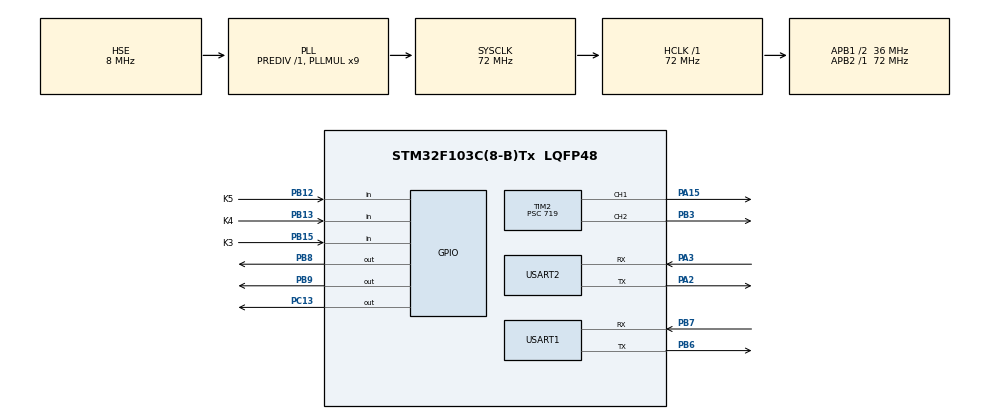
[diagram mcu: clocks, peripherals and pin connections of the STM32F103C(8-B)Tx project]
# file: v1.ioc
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Dma.Request0=USART2_RX
Dma.Request1=USART2_TX
Dma.USART2_RX.0.Direction=DMA_PERIPH_TO_MEMORY
Dma.USART2_RX.0.Instance=DMA1_Channel6
Dma.USART2_RX.0.MemDataAlignment=DMA_MDATAALIGN_BYTE
Dma.USART2_RX.0.MemInc=DMA_MINC_ENABLE
Dma.USART2_RX.0.Mode=DMA_NORMAL
Dma.USART2_RX.0.PeriphDataAlignment=DMA_PDATAALIGN_BYTE
Dma.USART2_RX.0.PeriphInc=DMA_PINC_DISABLE
Dma.USART2_RX.0.Priority=DMA_PRIORITY_LOW
Dma.USART2_TX.1.Direction=DMA_MEMORY_TO_PERIPH
Dma.USART2_TX.1.Instance=DMA1_Channel7
Dma.USART2_TX.1.MemDataAlignment=DMA_MDATAALIGN_BYTE
Dma.USART2_TX.1.MemInc=DMA_MINC_ENABLE
Dma.USART2_TX.1.Mode=DMA_NORMAL
Dma.USART2_TX.1.PeriphDataAlignment=DMA_PDATAALIGN_BYTE
Dma.USART2_TX.1.PeriphInc=DMA_PINC_DISABLE
Dma.USART2_TX.1.Priority=DMA_PRIORITY_LOW
Mcu.Family=STM32F1
Mcu.Name=STM32F103C(8-B)Tx
Mcu.Package=LQFP48
NVIC.DMA1_Channel6_IRQn=true\:0\:0\:false\:false\:true\:false\:true\:true
NVIC.DMA1_Channel7_IRQn=true\:0\:0\:false\:false\:true\:false\:true\:true
NVIC.PriorityGroup=NVIC_PRIORITYGROUP_4
NVIC.TIM4_IRQn=true\:1\:0\:true\:false\:true\:true\:true\:true
NVIC.USART1_IRQn=true\:0\:0\:false\:false\:true\:true\:true\:true
NVIC.USART2_IRQn=true\:0\:0\:false\:false\:true\:true\:true\:true
PA13.Mode=Serial_Wire
PA13.Signal=SYS_JTMS-SWDIO
PA14.Mode=Serial_Wire
PA14.Signal=SYS_JTCK-SWCLK
PA15.Signal=S_TIM2_CH1_ETR
PA2.Mode=Asynchronous
PA2.Signal=USART2_TX
PA3.Mode=Asynchronous
PA3.Signal=USART2_RX
PB12.GPIO_Label=K5
PB12.GPIO_PuPd=GPIO_PULLUP
PB12.Signal=GPIO_Input
PB13.GPIO_Label=K4
PB13.GPIO_PuPd=GPIO_PULLUP
PB13.Signal=GPIO_Input
PB15.GPIO_Label=K3
PB15.GPIO_PuPd=GPIO_PULLUP
PB15.Signal=GPIO_Input
PB3.Signal=S_TIM2_CH2
PB6.Mode=Asynchronous
PB6.Signal=USART1_TX
PB7.Mode=Asynchronous
PB7.Signal=USART1_RX
PB8.GPIO_ModeDefaultOutputPP=GPIO_MODE_OUTPUT_OD
PB8.GPIO_PuPd=GPIO_PULLUP
PB8.GPIO_Speed=GPIO_SPEED_FREQ_HIGH
PB8.PinState=GPIO_PIN_SET
PB8.Signal=GPIO_Output
PB9.GPIO_ModeDefaultOutputPP=GPIO_MODE_OUTPUT_OD
PB9.GPIO_PuPd=GPIO_PULLUP
PB9.GPIO_Speed=GPIO_SPEED_FREQ_HIGH
PB9.PinState=GPIO_PIN_SET
PB9.Signal=GPIO_Output
PC13-TAMPER-RTC.Signal=GPIO_Output
PD0-OSC_IN.Mode=HSE-External-Oscillator
PD0-OSC_IN.Signal=RCC_OSC_IN
PD1-OSC_OUT.Mode=HSE-External-Oscillator
PD1-OSC_OUT.Signal=RCC_OSC_OUT
ProjectManager.HeapSize=0x200
ProjectManager.StackSize=0x400
ProjectManager.TargetToolchain=STM32CubeIDE
RCC.AHBFreq_Value=72000000
RCC.APB1CLKDivider=RCC_HCLK_DIV2
RCC.APB1Freq_Value=36000000
RCC.APB1TimFreq_Value=72000000
RCC.APB2Freq_Value=72000000
RCC.APB2TimFreq_Value=72000000
RCC.HCLKFreq_Value=72000000
RCC.PLLMUL=RCC_PLL_MUL9
RCC.PLLSourceVirtual=RCC_PLLSOURCE_HSE
RCC.SYSCLKFreq_VALUE=72000000
RCC.SYSCLKSource=RCC_SYSCLKSOURCE_PLLCLK
RCC.USBFreq_Value=72000000
SH.S_TIM2_CH1_ETR.0=TIM2_CH1,PWM Generation1 CH1
SH.S_TIM2_CH2.0=TIM2_CH2,PWM Generation2 CH2
TIM2.AutoReloadPreload=TIM_AUTORELOAD_PRELOAD_ENABLE
TIM2.Channel-PWM\ Generation1\ CH1=TIM_CHANNEL_1
TIM2.Channel-PWM\ Generation2\ CH2=TIM_CHANNEL_2
TIM2.Period=1999
TIM2.Prescaler=719
TIM4.AutoReloadPreload=TIM_AUTORELOAD_PRELOAD_ENABLE
TIM4.Period=99
TIM4.Prescaler=7199
USART1.VirtualMode=VM_ASYNC
USART2.VirtualMode=VM_ASYNC
VP_TIM2_VS_ClockSourceINT.Mode=Internal
VP_TIM4_VS_ClockSourceINT.Mode=Internal
board=custom

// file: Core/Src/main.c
/* USER CODE BEGIN Header */
/**
  ******************************************************************************
  * @file           : main.c
  * @brief          : Main program body
  ******************************************************************************
  * @attention
  *
  * Copyright (c) 2023 STMicroelectronics.
  * All rights reserved.
  *
  * This software is licensed under terms that can be found in the LICENSE file
  * in the root directory of this software component.
  * If no LICENSE file comes with this software, it is provided AS-IS.
  *
  ******************************************************************************
  */
/* USER CODE END Header */
#include "main.h"
#include "dma.h"
#include "tim.h"
#include "usart.h"
#include "gpio.h"

/* USER CODE BEGIN Includes */

#include "PID.h"
#include "printf.h"
#include "control.h"
#include "oled.h"
#include "stdio.h"
#include "string.h"
#include "USART_2.h"

/* USER CODE END Includes */

/* USER CODE BEGIN PV */
extern uint8_t rec;
extern float X_data,Y_data,None;

uint8_t sbuf[20];

extern int rect_data[4][2];

/* USER CODE END PV */

void SystemClock_Config(void);

int main(void)
{

  /* MCU Configuration--------------------------------------------------------*/

  /* Reset of all peripherals, Initializes the Flash interface and the Systick. */
  HAL_Init();

  /* Configure the system clock */
  SystemClock_Config();

  /* Initialize all configured peripherals */
  MX_GPIO_Init();
  MX_DMA_Init();
  MX_TIM2_Init();
  MX_TIM4_Init();
  MX_USART1_UART_Init();
  MX_USART2_UART_Init();
  /* USER CODE BEGIN 2 */
  HAL_UART_Receive_IT(&huart2,&rec,1);
  HAL_TIM_Base_Start_IT(&htim4);

  HAL_TIM_PWM_Start(&htim2,TIM_CHANNEL_1);
  HAL_TIM_PWM_Start(&htim2,TIM_CHANNEL_2);

  OLED_Init();
  OLED_DisplayTurn(1);

  __HAL_UART_ENABLE_IT(&huart2, UART_IT_IDLE); //使能IDLE中断
  HAL_UART_Receive_DMA(&huart2,uart2_rx_buffer,BUFFER_SIZE);

  PID_Param_Init(&Coordinate_To_Anglex, 0.05, 0.00315, -0.00);//定点走线
  PID_Param_Init(&Coordinate_To_Angley, 0.05, 0.00315, -0.00);//定点走线

  Coordinate_To_Anglex.target = x_default;
  Coordinate_To_Angley.target = y_default;

  /* USER CODE END 2 */

  /* Infinite loop */
  while (1)
  {

    /* USER CODE BEGIN 3 */

    USART_data_processing();
    Func_3();
    Key_Proc();

    memset(sbuf,0,20);
    sprintf((char*)sbuf,"x:%d y:%d",(int)X_data,(int)Y_data);
    OLED_ShowString(0,0,sbuf,12);

    memset(sbuf,0,20);
    sprintf((char*)sbuf,"x1:%d y1:%d",rect_data[0][0],rect_data[0][1]);
    OLED_ShowString(0,2,sbuf,12);

//    memset(sbuf,0,20);
//    sprintf((char*)sbuf,"x2:%d y2:%d",(int)rect_data[1][0],(int)rect_data[1][1]);
//    OLED_ShowString(0,3,sbuf,12);
//
//    memset(sbuf,0,20);
//    sprintf((char*)sbuf,"x3:%d y3:%d",(int)rect_data[2][0],(int)rect_data[2][1]);
//    OLED_ShowString(0,4,sbuf,12);
//
//    memset(sbuf,0,20);
//    sprintf((char*)sbuf,"x4:%d y4:%d",(int)rect_data[3][0],(int)rect_data[3][1]);
//    OLED_ShowString(0,5,sbuf,12);

    Servo_X_Angle_Set(Coordinate_To_Anglex.out);
    Servo_Y_Angle_Set(Coordinate_To_Angley.out);
    HAL_Delay(10);

  }
  /* USER CODE END 3 */
}

void SystemClock_Config(void)
{
  RCC_OscInitTypeDef RCC_OscInitStruct = {0};
  RCC_ClkInitTypeDef RCC_ClkInitStruct = {0};

  /** Initializes the RCC Oscillators according to the specified parameters
  * in the RCC_OscInitTypeDef structure.
  */
  RCC_OscInitStruct.OscillatorType = RCC_OSCILLATORTYPE_HSE;
  RCC_OscInitStruct.HSEState = RCC_HSE_ON;
  RCC_OscInitStruct.HSEPredivValue = RCC_HSE_PREDIV_DIV1;
  RCC_OscInitStruct.HSIState = RCC_HSI_ON;
  RCC_OscInitStruct.PLL.PLLState = RCC_PLL_ON;
  RCC_OscInitStruct.PLL.PLLSource = RCC_PLLSOURCE_HSE;
  RCC_OscInitStruct.PLL.PLLMUL = RCC_PLL_MUL9;
  if (HAL_RCC_OscConfig(&RCC_OscInitStruct) != HAL_OK)
  {
    Error_Handler();
  }

  /** Initializes the CPU, AHB and APB buses clocks
  */
  RCC_ClkInitStruct.ClockType = RCC_CLOCKTYPE_HCLK|RCC_CLOCKTYPE_SYSCLK
                              |RCC_CLOCKTYPE_PCLK1|RCC_CLOCKTYPE_PCLK2;
  RCC_ClkInitStruct.SYSCLKSource = RCC_SYSCLKSOURCE_PLLCLK;
  RCC_ClkInitStruct.AHBCLKDivider = RCC_SYSCLK_DIV1;
  RCC_ClkInitStruct.APB1CLKDivider = RCC_HCLK_DIV2;
  RCC_ClkInitStruct.APB2CLKDivider = RCC_HCLK_DIV1;

  if (HAL_RCC_ClockConfig(&RCC_ClkInitStruct, FLASH_LATENCY_2) != HAL_OK)
  {
    Error_Handler();
  }
}

void Error_Handler(void)
{
  __disable_irq();
  while (1)
  {
  }
}
